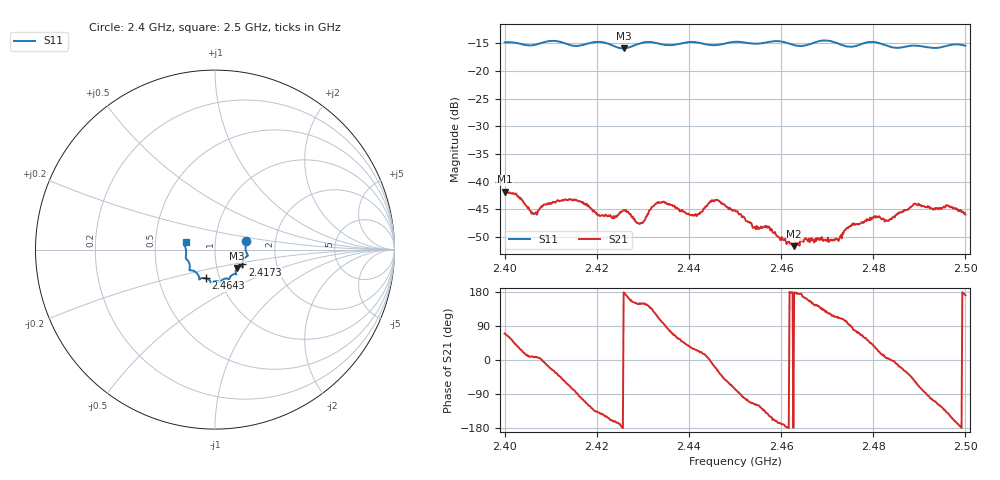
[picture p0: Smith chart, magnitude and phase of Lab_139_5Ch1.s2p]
# Hz S RI R 50
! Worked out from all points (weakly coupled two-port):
!   601 points, 2.4 GHz to 2.5 GHz, reference 50 ohm
!   highest |S21| = -41.77 dB at 2.4 GHz (marker M1); lowest = -51.6 dB at 2.4628 GHz (marker M2)
!   lowest |S11| = -15.9 dB at 2.4258 GHz (marker M3), VSWR 1.38, Z = 62.2 - j13.3 ohm
!   |S11| at or under -10 dB: start of sweep to end of sweep
!   S12 and S22 are empty: the file has one direction only
!   S11 on the Smith chart (normalised r, x): 2.4 GHz: 1.41, +0.14; 2.4173 GHz: 1.34, -0.23; 2.4643 GHz: 0.86, -0.28; 2.5 GHz: 0.72, +0.06
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2.4e9  0.1741 0.0492  0.00282 0.00765  0 0  0 0
2.4025e9  0.1751 0.0377  0.00597 0.00504  0 0  0 0
2.4065e9  0.1714 -0.00541  0.00512 0.000738  0 0  0 0
2.411667e9  0.1813 -0.0355  0.00509 -0.00446  0 0  0 0
2.416667e9  0.1529 -0.075  -0.00123 -0.00649  0 0  0 0
2.417333e9  0.1522 -0.0824  -0.00202 -0.00604  0 0  0 0
2.420667e9  0.1547 -0.0968  -0.0038 -0.0031  0 0  0 0
2.425833e9  0.1212 -0.1038  -0.00553 0.000147  0 0  0 0
2.4295e9  0.1167 -0.1344  -0.00359 0.00227  0 0  0 0
2.433333e9  0.1125 -0.1364  -0.00253 0.00606  0 0  0 0
2.440667e9  0.0789 -0.1646  0.00423 0.00258  0 0  0 0
2.4455e9  0.0507 -0.163  0.00637 -0.00189  0 0  0 0
2.45e9  0.0294 -0.1807  0.00123 -0.00536  0 0  0 0
2.462833e9  -0.0352 -0.1673  -0.00262 8.09e-05  0 0  0 0
2.464333e9  -0.0501 -0.1602  -0.00293 0.000257  0 0  0 0
2.466667e9  -0.0762 -0.1596  -0.00267 0.00156  0 0  0 0
2.472167e9  -0.088 -0.1547  -0.00116 0.00281  0 0  0 0
2.475333e9  -0.1097 -0.1235  0.000163 0.00407  0 0  0 0
2.480167e9  -0.1428 -0.1133  0.00386 0.00284  0 0  0 0
2.483333e9  -0.1405 -0.0895  0.00444 0.000229  0 0  0 0
2.489333e9  -0.1628 -0.0447  0.00314 -0.00539  0 0  0 0
2.5e9  -0.1637 0.0416  -0.00499 0.000829  0 0  0 0
